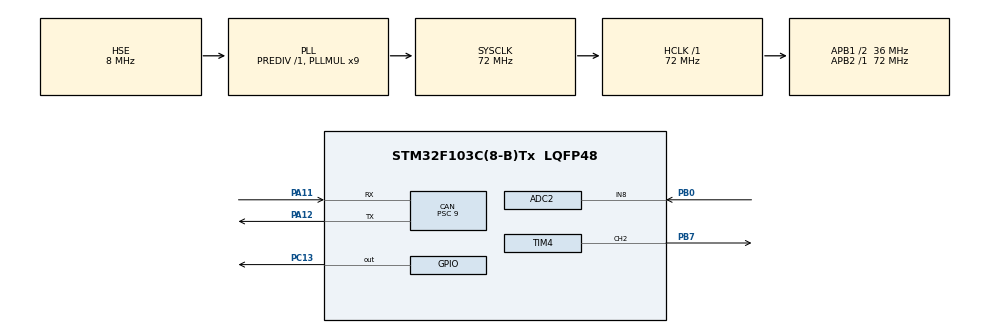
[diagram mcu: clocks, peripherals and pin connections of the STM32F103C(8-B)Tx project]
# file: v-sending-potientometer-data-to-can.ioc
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ADC2.Channel-0\#ChannelRegularConversion=ADC_CHANNEL_8
ADC2.ContinuousConvMode=ENABLE
ADC2.NbrOfConversionFlag=1
ADC2.Rank-0\#ChannelRegularConversion=1
ADC2.SamplingTime-0\#ChannelRegularConversion=ADC_SAMPLETIME_1CYCLE_5
CAN.BS1=CAN_BS1_3TQ
CAN.BS2=CAN_BS2_4TQ
CAN.CalculateBaudRate=500000
CAN.CalculateTimeBit=2000
CAN.CalculateTimeQuantum=250.0
CAN.Prescaler=9
Mcu.Family=STM32F1
Mcu.Name=STM32F103C(8-B)Tx
Mcu.Package=LQFP48
NVIC.CAN1_RX1_IRQn=true\:0\:0\:false\:false\:true\:true\:true\:true
NVIC.PriorityGroup=NVIC_PRIORITYGROUP_4
PA11.Mode=CAN_Activate
PA11.Signal=CAN_RX
PA12.Mode=CAN_Activate
PA12.Signal=CAN_TX
PA13.Mode=Serial_Wire
PA13.Signal=SYS_JTMS-SWDIO
PA14.Mode=Serial_Wire
PA14.Signal=SYS_JTCK-SWCLK
PB0.Signal=ADCx_IN8
PB7.Signal=S_TIM4_CH2
PC13-TAMPER-RTC.Signal=GPIO_Output
PD0-OSC_IN.Mode=HSE-External-Oscillator
PD0-OSC_IN.Signal=RCC_OSC_IN
PD1-OSC_OUT.Mode=HSE-External-Oscillator
PD1-OSC_OUT.Signal=RCC_OSC_OUT
ProjectManager.HeapSize=0x200
ProjectManager.StackSize=0x400
ProjectManager.TargetToolchain=STM32CubeIDE
RCC.AHBFreq_Value=72000000
RCC.APB1CLKDivider=RCC_HCLK_DIV2
RCC.APB1Freq_Value=36000000
RCC.APB1TimFreq_Value=72000000
RCC.APB2Freq_Value=72000000
RCC.APB2TimFreq_Value=72000000
RCC.HCLKFreq_Value=72000000
RCC.PLLMUL=RCC_PLL_MUL9
RCC.PLLSourceVirtual=RCC_PLLSOURCE_HSE
RCC.SYSCLKFreq_VALUE=72000000
RCC.SYSCLKSource=RCC_SYSCLKSOURCE_PLLCLK
RCC.USBFreq_Value=72000000
SH.ADCx_IN8.0=ADC2_IN8,IN8
SH.S_TIM4_CH2.0=TIM4_CH2,PWM Generation2 CH2
TIM4.Channel-PWM\ Generation2\ CH2=TIM_CHANNEL_2
TIM4.Period=625
TIM4.Prescaler=127
VP_TIM4_VS_ClockSourceINT.Mode=Internal
board=custom

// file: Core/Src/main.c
/* USER CODE BEGIN Header */
/**
  ******************************************************************************
  * @file           : main.c
  * @brief          : Main program body
  ******************************************************************************
  * @attention
  *
  * Copyright (c) 2023 STMicroelectronics.
  * All rights reserved.
  *
  * This software is licensed under terms that can be found in the LICENSE file
  * in the root directory of this software component.
  * If no LICENSE file comes with this software, it is provided AS-IS.
  *
  ******************************************************************************
  */
/* USER CODE END Header */
#include "main.h"

/* USER CODE BEGIN Includes */
  uint32_t readValue;
  char hexString[5];//for storing hexavalues from potientommeter
/* USER CODE END Includes */

ADC_HandleTypeDef hadc2;

CAN_HandleTypeDef hcan;

TIM_HandleTypeDef htim4;

void SystemClock_Config(void);
static void MX_GPIO_Init(void);
static void MX_CAN_Init(void);
static void MX_ADC2_Init(void);
static void MX_TIM4_Init(void);

/* USER CODE BEGIN 0 */

CAN_TxHeaderTypeDef TxHeader;
CAN_RxHeaderTypeDef RxHeader;
uint32_t TxMailbox;
uint8_t TxData[8];
uint8_t RxData[8];
int datacheck=0;
int count=0;

/* USER CODE END 0 */

int main(void)
{

  /* MCU Configuration--------------------------------------------------------*/

  /* Reset of all peripherals, Initializes the Flash interface and the Systick. */
   HAL_Init();

  /* Configure the system clock */
  SystemClock_Config();

  /* Initialize all configured peripherals */
  MX_GPIO_Init();
  MX_CAN_Init();
  MX_ADC2_Init();
  MX_TIM4_Init();
  /* USER CODE BEGIN 2 */
    HAL_TIM_PWM_Start(&htim4, TIM_CHANNEL_2);//SATRT TIMER
    HAL_ADC_Start(&hadc2);//START ADC FOR POTIENTOMETER
    HAL_CAN_Start(&hcan);
    HAL_CAN_ActivateNotification(&hcan, CAN_IT_RX_FIFO1_MSG_PENDING);//for intrrrupt call back function
     TxHeader.DLC=2;
    TxHeader.ExtId=0;
     TxHeader.IDE=CAN_ID_STD;
     TxHeader.RTR=CAN_RTR_DATA;
     TxHeader.StdId=0x123;
     //txHeader.TransmitGlobalTime = DISABLE;

  /* USER CODE END 2 */

  /* Infinite loop */
  while (1)
  {

    /* USER CODE BEGIN 3 */
	 HAL_ADC_PollForConversion(&hadc2, 1000);
	  readValue=HAL_ADC_GetValue(&hadc2);
	  __HAL_TIM_SET_COMPARE(&htim4,TIM_CHANNEL_2, readValue); // Set PWM duty foe led
	  HAL_Delay(3);

	 TxData[0]=readValue & 0x00FF;
	 TxData[1]=(readValue >> 8)& 0x00FF;

	 // TxData[0]=0x02;
	  HAL_Delay(1000);
	  //data i herer does ds
		  //sprintf(hexString, "%04X", readValue);
		  //TxData[0]=(uint8_t)strtoul(hexString, NULL, 16);//hexString;
 		  //HAL_GPIO_WritePin(GPIOC, GPIO_PIN_13,1);
	  //data is here doed daoo

		 if(HAL_CAN_AddTxMessage(&hcan, &TxHeader, TxData, &TxMailbox)== HAL_OK)
		  {
		 	  HAL_GPIO_WritePin(GPIOC, GPIO_PIN_13,1);
		 		 HAL_Delay(1000);
		 		  HAL_GPIO_WritePin(GPIOC, GPIO_PIN_13,0);

		  }

	  }
  //}
  /* USER CODE END 3 */
}

void SystemClock_Config(void)
{
  RCC_OscInitTypeDef RCC_OscInitStruct = {0};
  RCC_ClkInitTypeDef RCC_ClkInitStruct = {0};
  RCC_PeriphCLKInitTypeDef PeriphClkInit = {0};

  /** Initializes the RCC Oscillators according to the specified parameters
  * in the RCC_OscInitTypeDef structure.
  */
  RCC_OscInitStruct.OscillatorType = RCC_OSCILLATORTYPE_HSE;
  RCC_OscInitStruct.HSEState = RCC_HSE_ON;
  RCC_OscInitStruct.HSEPredivValue = RCC_HSE_PREDIV_DIV1;
  RCC_OscInitStruct.HSIState = RCC_HSI_ON;
  RCC_OscInitStruct.PLL.PLLState = RCC_PLL_ON;
  RCC_OscInitStruct.PLL.PLLSource = RCC_PLLSOURCE_HSE;
  RCC_OscInitStruct.PLL.PLLMUL = RCC_PLL_MUL9;
  if (HAL_RCC_OscConfig(&RCC_OscInitStruct) != HAL_OK)
  {
    Error_Handler();
  }

  /** Initializes the CPU, AHB and APB buses clocks
  */
  RCC_ClkInitStruct.ClockType = RCC_CLOCKTYPE_HCLK|RCC_CLOCKTYPE_SYSCLK
                              |RCC_CLOCKTYPE_PCLK1|RCC_CLOCKTYPE_PCLK2;
  RCC_ClkInitStruct.SYSCLKSource = RCC_SYSCLKSOURCE_PLLCLK;
  RCC_ClkInitStruct.AHBCLKDivider = RCC_SYSCLK_DIV1;
  RCC_ClkInitStruct.APB1CLKDivider = RCC_HCLK_DIV2;
  RCC_ClkInitStruct.APB2CLKDivider = RCC_HCLK_DIV1;

  if (HAL_RCC_ClockConfig(&RCC_ClkInitStruct, FLASH_LATENCY_2) != HAL_OK)
  {
    Error_Handler();
  }
  PeriphClkInit.PeriphClockSelection = RCC_PERIPHCLK_ADC;
  PeriphClkInit.AdcClockSelection = RCC_ADCPCLK2_DIV2;
  if (HAL_RCCEx_PeriphCLKConfig(&PeriphClkInit) != HAL_OK)
  {
    Error_Handler();
  }
}

static void MX_ADC2_Init(void)
{

  ADC_ChannelConfTypeDef sConfig = {0};

  /** Common config
  */
  hadc2.Instance = ADC2;
  hadc2.Init.ScanConvMode = ADC_SCAN_DISABLE;
  hadc2.Init.ContinuousConvMode = ENABLE;
  hadc2.Init.DiscontinuousConvMode = DISABLE;
  hadc2.Init.ExternalTrigConv = ADC_SOFTWARE_START;
  hadc2.Init.DataAlign = ADC_DATAALIGN_RIGHT;
  hadc2.Init.NbrOfConversion = 1;
  if (HAL_ADC_Init(&hadc2) != HAL_OK)
  {
    Error_Handler();
  }

  /** Configure Regular Channel
  */
  sConfig.Channel = ADC_CHANNEL_8;
  sConfig.Rank = ADC_REGULAR_RANK_1;
  sConfig.SamplingTime = ADC_SAMPLETIME_1CYCLE_5;
  if (HAL_ADC_ConfigChannel(&hadc2, &sConfig) != HAL_OK)
  {
    Error_Handler();
  }

}

static void MX_CAN_Init(void)
{

  hcan.Instance = CAN1;
  hcan.Init.Prescaler = 9;
  hcan.Init.Mode = CAN_MODE_NORMAL;
  hcan.Init.SyncJumpWidth = CAN_SJW_1TQ;
  hcan.Init.TimeSeg1 = CAN_BS1_3TQ;
  hcan.Init.TimeSeg2 = CAN_BS2_4TQ;
  hcan.Init.TimeTriggeredMode = DISABLE;
  hcan.Init.AutoBusOff = DISABLE;
  hcan.Init.AutoWakeUp = DISABLE;
  hcan.Init.AutoRetransmission = DISABLE;
  hcan.Init.ReceiveFifoLocked = DISABLE;
  hcan.Init.TransmitFifoPriority = DISABLE;
  if (HAL_CAN_Init(&hcan) != HAL_OK)
  {
    Error_Handler();
  }
  /* USER CODE BEGIN CAN_Init 2 */
  CAN_FilterTypeDef canfilterconfiguration;
  canfilterconfiguration.FilterActivation = CAN_FILTER_ENABLE;
  canfilterconfiguration.FilterBank=10;//WHICH FILTER BANK USED FROM ASSIGNED ONES
  canfilterconfiguration.FilterFIFOAssignment=CAN_FILTER_FIFO1;//AZEZUR DA DAD
  canfilterconfiguration.FilterIdHigh=0x446<<5;
  canfilterconfiguration.FilterIdLow=0;
  canfilterconfiguration.FilterMaskIdHigh=0x446<<5;
  canfilterconfiguration.FilterMaskIdLow=0x0000;
  canfilterconfiguration.FilterMode=CAN_FILTERMODE_IDMASK;
  canfilterconfiguration.FilterScale=CAN_FILTERSCALE_32BIT;
  canfilterconfiguration.SlaveStartFilterBank=0;//NOT MSTTER IN SINGLE CAN CON

  HAL_CAN_ConfigFilter(&hcan, &canfilterconfiguration);

  /* USER CODE END CAN_Init 2 */

}

static void MX_TIM4_Init(void)
{

  TIM_ClockConfigTypeDef sClockSourceConfig = {0};
  TIM_MasterConfigTypeDef sMasterConfig = {0};
  TIM_OC_InitTypeDef sConfigOC = {0};

  htim4.Instance = TIM4;
  htim4.Init.Prescaler = 127;
  htim4.Init.CounterMode = TIM_COUNTERMODE_UP;
  htim4.Init.Period = 625;
  htim4.Init.ClockDivision = TIM_CLOCKDIVISION_DIV1;
  htim4.Init.AutoReloadPreload = TIM_AUTORELOAD_PRELOAD_DISABLE;
  if (HAL_TIM_Base_Init(&htim4) != HAL_OK)
  {
    Error_Handler();
  }
  sClockSourceConfig.ClockSource = TIM_CLOCKSOURCE_INTERNAL;
  if (HAL_TIM_ConfigClockSource(&htim4, &sClockSourceConfig) != HAL_OK)
  {
    Error_Handler();
  }
  if (HAL_TIM_PWM_Init(&htim4) != HAL_OK)
  {
    Error_Handler();
  }
  sMasterConfig.MasterOutputTrigger = TIM_TRGO_RESET;
  sMasterConfig.MasterSlaveMode = TIM_MASTERSLAVEMODE_DISABLE;
  if (HAL_TIMEx_MasterConfigSynchronization(&htim4, &sMasterConfig) != HAL_OK)
  {
    Error_Handler();
  }
  sConfigOC.OCMode = TIM_OCMODE_PWM1;
  sConfigOC.Pulse = 0;
  sConfigOC.OCPolarity = TIM_OCPOLARITY_HIGH;
  sConfigOC.OCFastMode = TIM_OCFAST_DISABLE;
  if (HAL_TIM_PWM_ConfigChannel(&htim4, &sConfigOC, TIM_CHANNEL_2) != HAL_OK)
  {
    Error_Handler();
  }
  HAL_TIM_MspPostInit(&htim4);

}

static void MX_GPIO_Init(void)
{
  GPIO_InitTypeDef GPIO_InitStruct = {0};

  /* GPIO Ports Clock Enable */
  __HAL_RCC_GPIOC_CLK_ENABLE();
  __HAL_RCC_GPIOD_CLK_ENABLE();
  __HAL_RCC_GPIOB_CLK_ENABLE();
  __HAL_RCC_GPIOA_CLK_ENABLE();

  /*Configure GPIO pin Output Level */
  HAL_GPIO_WritePin(GPIOC, GPIO_PIN_13, GPIO_PIN_RESET);

  /*Configure GPIO pin : PC13 */
  GPIO_InitStruct.Pin = GPIO_PIN_13;
  GPIO_InitStruct.Mode = GPIO_MODE_OUTPUT_PP;
  GPIO_InitStruct.Pull = GPIO_NOPULL;
  GPIO_InitStruct.Speed = GPIO_SPEED_FREQ_LOW;
  HAL_GPIO_Init(GPIOC, &GPIO_InitStruct);

}

void Error_Handler(void)
{
  __disable_irq();
  while (1)
  {
  }
}
